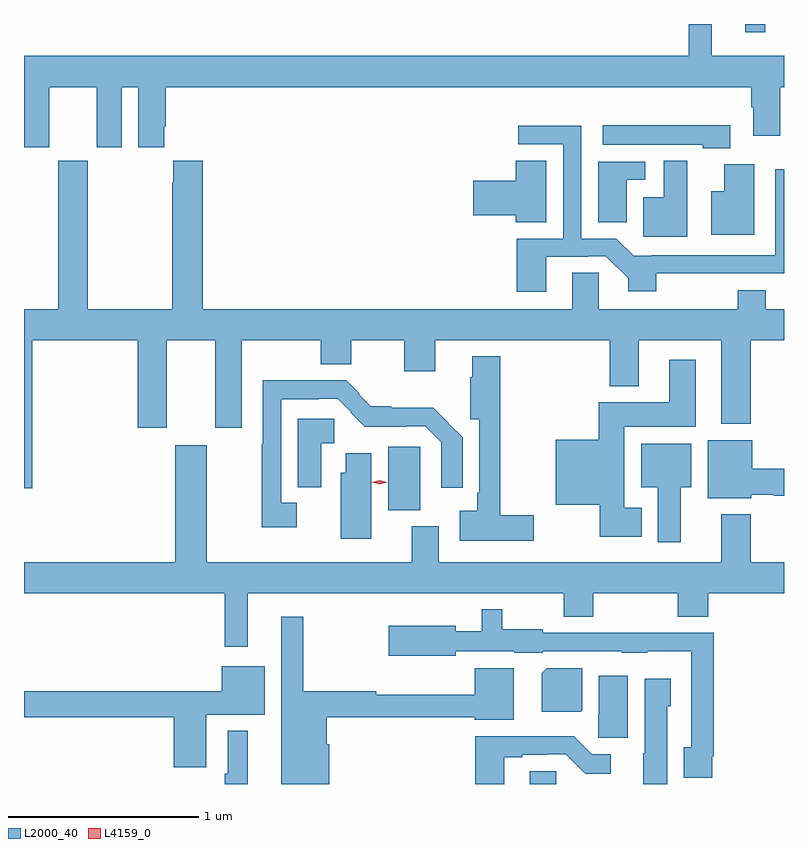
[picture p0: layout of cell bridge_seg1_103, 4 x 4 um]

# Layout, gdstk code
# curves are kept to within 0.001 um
import gdstk
lib = gdstk.Library(unit=1e-6, precision=1e-09)
def R(c, l, rs):  # rectangles x0, y0, x1, y1
    for r in rs: c.add(gdstk.rectangle(r[:2], r[2:], *l))
def P(c, l, *ps):  # polygons
    for p in ps: c.add(gdstk.Polygon(p, *l))
L2000_40 = (2000, 40)
L4159_0 = (4159, 0)

bridge_seg1_103 = lib.new_cell('bridge_seg1_103')
R(bridge_seg1_103, L2000_40, [(218.045,506.772,218.184,506.84), (217.298,508.214,217.468,508.548), (219.179,510.729,219.283,510.772)])
P(bridge_seg1_103, L2000_40, [(215.515,510.44),(215.765,510.44),(215.765,510.123),(215.896,510.123),(215.896,510.44),(215.984,510.44),(215.984,510.123),(216.121,510.123),(216.121,510.235),(216.128,510.235),(216.128,510.44),(219.209,510.44),(219.209,510.334),(219.221,510.334),(219.221,510.183),(219.361,510.183),(219.361,510.44),(219.382,510.44),(219.382,510.604),(219.001,510.604),(219.001,510.772),(218.88,510.772),(218.88,510.604),(215.382,510.604),(215.382,510.44),(215.384,510.44),(215.384,510.123),(215.515,510.123)],
  [(219.1,510.238),(218.427,510.238),(218.427,510.137),(218.955,510.137),(218.955,510.119),(219.1,510.119)],
  [(218.131,509.547),(218.351,509.547),(218.351,509.55),(218.445,509.55),(218.561,509.434),(218.561,509.366),(218.709,509.366),(218.709,509.459),(219.382,509.46),(219.382,510.007),(219.336,510.007),(219.336,509.556),(218.686,509.556),(218.686,509.553),(218.59,509.553),(218.5,509.643),(218.316,509.643),(218.316,510.236),(217.983,510.236),(217.983,510.138),(218.22,510.138),(218.22,509.643),(217.976,509.643),(217.976,509.364),(218.131,509.364)],
  [(218.131,510.053),(217.97,510.053),(217.97,509.948),(217.746,509.948),(217.746,509.765),(217.97,509.765),(217.97,509.728),(218.131,509.728)],
  [(218.872,510.052),(218.75,510.052),(218.75,509.86),(218.642,509.86),(218.642,509.651),(218.872,509.651)],
  [(215.426,509.108),(215.981,509.108),(215.981,508.647),(216.133,508.647),(216.133,509.108),(216.389,509.108),(216.389,508.647),(216.529,508.647),(216.529,509.108),(216.944,509.108),(216.944,508.982),(217.105,508.982),(217.105,509.108),(217.382,509.108),(217.382,508.944),(217.546,508.944),(217.546,509.108),(218.465,509.108),(218.465,508.865),(218.617,508.865),(218.617,509.108),(219.053,509.108),(219.053,508.667),(219.206,508.667),(219.206,509.108),(219.382,509.108),(219.382,509.272),(219.286,509.272),(219.286,509.371),(219.139,509.371),(219.139,509.272),(218.406,509.272),(218.406,509.462),(218.267,509.462),(218.267,509.272),(216.323,509.272),(216.323,510.052),(216.167,510.052),(216.167,509.939),(216.163,509.939),(216.163,509.272),(215.718,509.272),(215.718,510.052),(215.563,510.052),(215.563,509.272),(215.382,509.272),(215.382,508.329),(215.426,508.329)],
  [(218.554,509.952),(218.653,509.952),(218.653,510.048),(218.405,510.048),(218.405,509.728),(218.554,509.728)],
  [(219.226,510.034),(219.068,510.034),(219.068,509.893),(218.999,509.893),(218.999,509.663),(219.226,509.663)],
  [(218.065,508.187),(217.888,508.187),(217.888,508.795),(217.889,508.795),(217.889,509.023),(217.742,509.023),(217.742,508.913),(217.73,508.913),(217.73,508.692),(217.779,508.692),(217.779,508.306),(217.767,508.306),(217.767,508.21),(217.676,508.21),(217.676,508.052),(218.065,508.052)],
  [(218.632,508.225),(218.542,508.225),(218.542,508.652),(218.917,508.652),(218.917,509.005),(218.777,509.005),(218.777,508.78),(218.408,508.78),(218.408,508.585),(218.18,508.585),(218.18,508.241),(218.413,508.241),(218.413,508.073),(218.632,508.073)],
  [(216.818,508.252),(216.735,508.252),(216.735,508.796),(216.932,508.796),(216.932,508.8),(217.032,508.8),(217.104,508.728),(217.101,508.725),(217.175,508.652),(217.394,508.652),(217.394,508.656),(217.494,508.656),(217.578,508.572),(217.578,508.332),(217.69,508.332),(217.69,508.596),(217.535,508.753),(217.315,508.753),(217.315,508.761),(217.207,508.761),(217.145,508.823),(217.149,508.827),(217.079,508.897),(216.639,508.897),(216.639,508.559),(216.634,508.559),(216.634,508.124),(216.818,508.124)],
  [(216.946,508.565),(217.015,508.565),(217.015,508.694),(216.824,508.694),(216.824,508.333),(216.946,508.333)],
  [(219.21,508.295),(219.327,508.295),(219.327,508.288),(219.382,508.288),(219.382,508.43),(219.214,508.43),(219.214,508.582),(218.981,508.582),(218.981,508.277),(219.21,508.277)],
  [(218.839,508.334),(218.893,508.334),(218.893,508.564),(218.63,508.564),(218.63,508.334),(218.717,508.334),(218.717,508.044),(218.839,508.044)],
  [(216.559,507.776),(218.224,507.776),(218.224,507.652),(218.379,507.652),(218.379,507.776),(218.824,507.776),(218.824,507.652),(218.984,507.652),(218.984,507.776),(219.382,507.776),(219.382,507.94),(219.206,507.94),(219.206,508.192),(219.053,508.192),(219.053,507.94),(217.564,507.94),(217.564,508.129),(217.424,508.129),(217.424,507.94),(216.343,507.94),(216.343,508.555),(216.179,508.555),(216.179,507.94),(215.382,507.94),(215.382,507.776),(216.438,507.776),(216.438,507.495),(216.559,507.495)],
  [(217.21,508.513),(217.076,508.513),(217.076,508.41),(217.049,508.41),(217.049,508.062),(217.21,508.062)],
  [(219.004,506.917),(219.011,506.917),(219.011,507.567),(218.761,507.567),(218.761,507.569),(218.529,507.569),(218.529,507.567),(218.112,507.567),(218.112,507.586),(217.9,507.586),(217.9,507.691),(217.79,507.691),(217.79,507.575),(217.654,507.575),(217.654,507.604),(217.302,507.604),(217.302,507.446),(217.654,507.446),(217.654,507.47),(217.962,507.47),(217.962,507.464),(218.112,507.464),(218.112,507.471),(218.529,507.471),(218.529,507.464),(218.661,507.464),(218.661,507.47),(218.895,507.47),(218.895,506.966),(218.855,506.966),(218.855,506.805),(219.004,506.805)],
  [(216.988,506.982),(216.976,506.982),(216.976,507.124),(217.754,507.124),(217.754,507.11),(217.96,507.11),(217.96,507.382),(217.754,507.382),(217.754,507.242),(217.237,507.242),(217.237,507.26),(216.851,507.26),(216.851,507.652),(216.737,507.652),(216.737,506.772),(216.988,506.772)],
  [(216.34,507.137),(216.649,507.137),(216.649,507.391),(216.422,507.391),(216.422,507.26),(215.382,507.26),(215.382,507.124),(216.17,507.124),(216.17,506.859),(216.34,506.859)],
  [(218.32,507.16),(218.32,507.382),(218.134,507.382),(218.108,507.356),(218.108,507.152),(218.312,507.152)],
  [(218.56,507.343),(218.408,507.343),(218.408,507.138),(218.404,507.138),(218.404,507.015),(218.56,507.015)],
  [(218.767,507.18),(218.785,507.18),(218.785,507.325),(218.648,507.325),(218.648,506.934),(218.642,506.934),(218.642,506.772),(218.767,506.772)],
  [(216.559,507.052),(216.455,507.052),(216.455,506.825),(216.438,506.825),(216.438,506.772),(216.559,506.772)],
  [(217.909,506.913),(218.005,506.913),(218.005,506.925),(218.132,506.925),(218.132,506.928),(218.232,506.928),(218.335,506.826),(218.47,506.826),(218.47,506.928),(218.37,506.928),(218.275,507.023),(217.757,507.023),(217.757,506.772),(217.909,506.772)])
P(bridge_seg1_103, L4159_0, [(217.254,508.35),(217.212,508.36),(217.212,508.36),(217.212,508.36),(217.254,508.37),(217.295,508.36),(217.295,508.36),(217.295,508.36)])

lib.write_gds('bridge_seg1_103.gds')
